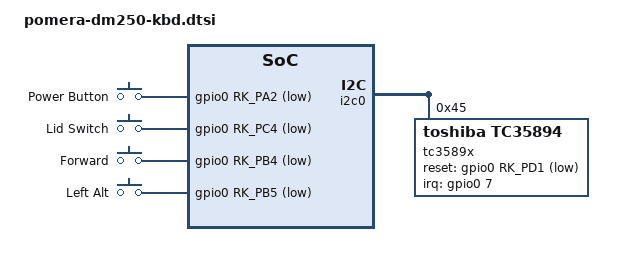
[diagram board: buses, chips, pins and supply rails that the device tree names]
// SPDX-License-Identifier: (GPL-2.0+ OR MIT)
#include <dt-bindings/input/input.h>

 &pinctrl {
	button_pins {
                pwr_key_l: pwr-key-l {
                        rockchip,pins = <0 RK_PA2 RK_FUNC_GPIO &pcfg_pull_none>;
                };
                
                lid_int_l: lid-int-l {
                        rockchip,pins = <0 RK_PC4 RK_FUNC_GPIO &pcfg_pull_none>;
                };

                kbd_rshift_l: kbd-rshift-l {
                        rockchip,pins = <0 RK_PB4 RK_FUNC_GPIO &pcfg_pull_none>;
                };

                kbd_alt_l: kbd-alt-l {
                        rockchip,pins = <0 RK_PB5 RK_FUNC_GPIO &pcfg_pull_none>;
                };
        };

        tc3589x {
		tc3589x_int_l: tc3589x-int-l {
			rockchip,pins = <0 RK_PA7 RK_FUNC_GPIO &pcfg_pull_none>;
		};
                
		tc3589x_reset: tc3589x-reset {
			rockchip,pins = <0 RK_PD1 RK_FUNC_GPIO &pcfg_pull_none>;
		};
	};
};

/ {
	gpio-keys {
		compatible = "gpio-keys";
		pinctrl-names = "default";
		pinctrl-0 = <&pwr_key_l &lid_int_l &kbd_rshift_l &kbd_alt_l>;
		/* autorepeat; */
		status = "okay";

		key-power {
			label = "Power Button";
			gpios = <&gpio0 RK_PA2 GPIO_ACTIVE_LOW>;
			linux,code = <KEY_POWER>;
			debounce-interval = <100>;
			wakeup-source;
		};

		switch-lid {
                        label = "Lid Switch";
                        gpios = <&gpio0 RK_PC4 GPIO_ACTIVE_LOW>;
                        linux,code = <SW_LID>;
                        linux,input-type = <EV_SW>;
                        debounce-interval = <100>;
                        wakeup-source;
                };

		// Former Right Shift
                key-forward {
                        label = "Forward";
                        gpios = <&gpio0 RK_PB4 GPIO_ACTIVE_LOW>;
                        linux,code = <KEY_FORWARD>;
                        debounce-interval = <50>;
                        wakeup-source;
                };

                left-alt {
                        label = "Left Alt";
                        gpios = <&gpio0 RK_PB5 GPIO_ACTIVE_LOW>;
                        linux,code = <KEY_LEFTALT>;
                        debounce-interval = <50>;
                        wakeup-source;
                };
	};
};

&i2c0 {
	status = "okay";

	tc3589x@45 {
		compatible = "toshiba,tc35894";
		reg = <0x45>;
		reset-gpios = <&gpio0 RK_PD1 GPIO_ACTIVE_LOW>;
		interrupt-parent = <&gpio0>;
		interrupts = <7 IRQ_TYPE_EDGE_FALLING>;
		pinctrl-names = "default";
		pinctrl-0 = <&tc3589x_int_l &tc3589x_reset>;
		interrupt-controller;
		#interrupt-cells = <1>;
		status = "okay";
		
		tc3589x_keypad {
			compatible = "toshiba,tc3589x-keypad";
			debounce-delay-ms = <50>;
			keypad,num-rows = <8>; /* not counting Fn layer */
			keypad,num-columns = <12>;
			wakeup-source;
			linux,keymap = <
				MATRIX_KEY(0, 0,  KEY_RIGHTALT)
				MATRIX_KEY(0, 3,  KEY_ENTER)
				MATRIX_KEY(0, 4,  KEY_BACKSLASH)
				MATRIX_KEY(0, 5,  KEY_DOT)
				MATRIX_KEY(0, 6,  KEY_COMMA)
				MATRIX_KEY(0, 7,  KEY_M)
				MATRIX_KEY(0, 8,  KEY_V)
				MATRIX_KEY(0, 9,  KEY_C)
				MATRIX_KEY(0, 10, KEY_Z)
				MATRIX_KEY(0, 11, KEY_X)
				/* MATRIX_KEY(1, 0,  KEY_LEFTALT) /\* GPIO0_B5 *\/ */
				MATRIX_KEY(1, 4,  KEY_SEMICOLON)
				MATRIX_KEY(1, 5,  KEY_L)
				MATRIX_KEY(1, 6,  KEY_K)
				MATRIX_KEY(1, 7,  KEY_J)
				MATRIX_KEY(1, 8,  KEY_F)
				MATRIX_KEY(1, 9,  KEY_D)
				MATRIX_KEY(1, 10, KEY_A)
				MATRIX_KEY(1, 11, KEY_S)
				/* MATRIX_KEY(2, 0,  KEY_RIGHTSHIFT) /\* GPIO0_B4 *\/ */
				MATRIX_KEY(2, 3,  KEY_EQUAL) // former YEN
				MATRIX_KEY(2, 4,  KEY_P)
				MATRIX_KEY(2, 5,  KEY_O)
				MATRIX_KEY(2, 6,  KEY_I)
				MATRIX_KEY(2, 7,  KEY_U)
				MATRIX_KEY(2, 8,  KEY_R)
				MATRIX_KEY(2, 9,  KEY_E)
				MATRIX_KEY(2, 10, KEY_Q)
				MATRIX_KEY(2, 11, KEY_W)
				MATRIX_KEY(3, 0,  KEY_RIGHTCTRL)
				MATRIX_KEY(3, 3,  KEY_UNDO) // former F10
				MATRIX_KEY(3, 4,  KEY_9) // former 0
				MATRIX_KEY(3, 5,  KEY_8) // former 9
				MATRIX_KEY(3, 6,  KEY_7) // former 8
				MATRIX_KEY(3, 7,  KEY_6) // former 7
				MATRIX_KEY(3, 8,  KEY_3) // former 4
				MATRIX_KEY(3, 9,  KEY_2) // former 3
				MATRIX_KEY(3, 10, KEY_GRAVE) // former 1
				MATRIX_KEY(3, 11, KEY_1) // former 2
				MATRIX_KEY(4, 0,  KEY_RIGHT)
				MATRIX_KEY(4, 1,  KEY_LEFT)
				MATRIX_KEY(4, 2,  KEY_DOWN)
				MATRIX_KEY(4, 4,  KEY_SLASH)
				MATRIX_KEY(4, 5,  KEY_F11)
				MATRIX_KEY(4, 6,  KEY_BACK) // former RO
				MATRIX_KEY(4, 7,  KEY_N)
				MATRIX_KEY(4, 8,  KEY_F6) // former F5
				MATRIX_KEY(4, 9,  KEY_B)
				MATRIX_KEY(4, 10, KEY_LEFTSHIFT)
				MATRIX_KEY(4, 11, KEY_FN) // former LEFTCTRL
				MATRIX_KEY(5, 3,  KEY_BACKSPACE)
				MATRIX_KEY(5, 4,  KEY_LEFTBRACE)
				MATRIX_KEY(5, 5,  KEY_F8) // former F7
				MATRIX_KEY(5, 6,  KEY_RIGHTBRACE)
				MATRIX_KEY(5, 7,  KEY_Y)
				MATRIX_KEY(5, 8,  KEY_T)
				MATRIX_KEY(5, 9,  KEY_F4) // former F3
				MATRIX_KEY(5, 10, KEY_TAB)
				MATRIX_KEY(5, 11, KEY_LEFTCTRL) // former CAPSLOCK
				MATRIX_KEY(6, 0,  KEY_F12)
				MATRIX_KEY(6, 1,  KEY_UP)
				MATRIX_KEY(6, 2,  KEY_SPACE)
				MATRIX_KEY(6, 4,  KEY_APOSTROPHE)
				MATRIX_KEY(6, 6,  KEY_F7) // former F6
				MATRIX_KEY(6, 7,  KEY_H)
				MATRIX_KEY(6, 8,  KEY_G)
				MATRIX_KEY(6, 9,  KEY_F5) // former F4
				MATRIX_KEY(6, 10, KEY_ESC)
				MATRIX_KEY(6, 11, KEY_LEFTMETA) // former MENU
				MATRIX_KEY(7, 0,  KEY_INSERT)
				MATRIX_KEY(7, 2,  KEY_DELETE)
				MATRIX_KEY(7, 3,  KEY_F10) // former F9
				MATRIX_KEY(7, 4,  KEY_0)  // former MINUS
				MATRIX_KEY(7, 5,  KEY_F9) // former F8
				MATRIX_KEY(7, 6,  KEY_MINUS) // former EQUAL
				MATRIX_KEY(7, 7,  KEY_5) // former 6
				MATRIX_KEY(7, 8,  KEY_4) // former 5
				MATRIX_KEY(7, 9,  KEY_F3) // former F2
				MATRIX_KEY(7, 10, KEY_F1) // former GRAVE
				MATRIX_KEY(7, 11, KEY_F2) // former F1
				/* Fn-modified keys */
				MATRIX_KEY(12, 0,  KEY_END) /* Fn-RIGHT */
				MATRIX_KEY(12, 1,  KEY_HOME) /* Fn-LEFT */
				MATRIX_KEY(12, 2,  KEY_PAGEDOWN) /* Fn-DOWN */
				MATRIX_KEY(12, 11, KEY_FN) /* Fn */
				MATRIX_KEY(13, 9,  KEY_BATTERY) // Fn-F4
				MATRIX_KEY(14, 1,  KEY_PAGEUP) /* Fn-UP */
				MATRIX_KEY(14, 9,  KEY_RFKILL) // Fn-F5
				MATRIX_KEY(15, 9,  KEY_DISPLAY_OFF) // Fn-F3
				MATRIX_KEY(15, 10, KEY_BRIGHTNESSDOWN) // Fn-F1
				MATRIX_KEY(15, 11, KEY_BRIGHTNESSUP) // Fn-F2
			>;
		};
	};

};
